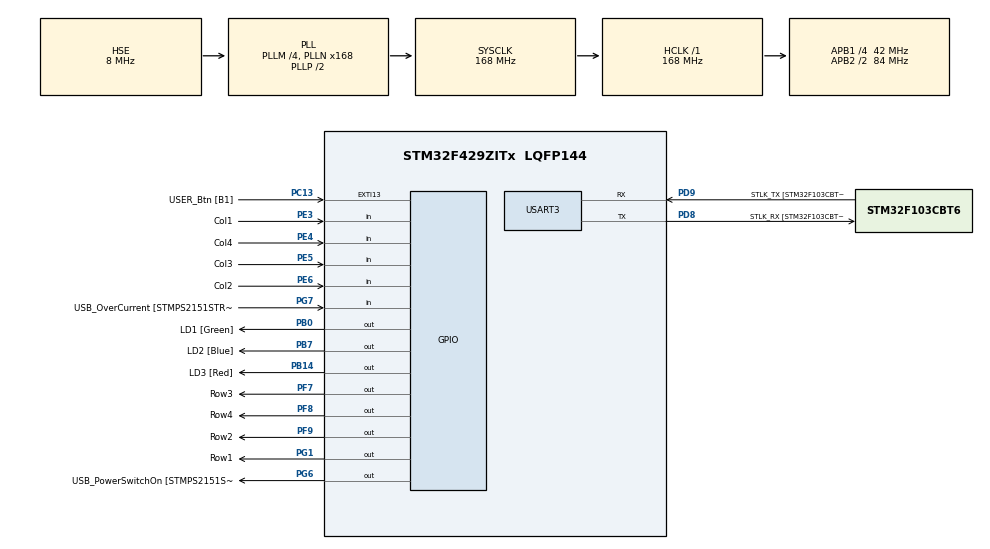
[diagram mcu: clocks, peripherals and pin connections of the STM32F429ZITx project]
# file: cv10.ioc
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Mcu.Family=STM32F4
Mcu.Name=STM32F429ZITx
Mcu.Package=LQFP144
NVIC.PriorityGroup=NVIC_PRIORITYGROUP_4
NVIC.TIM3_IRQn=true\:15\:0\:false\:false\:true\:true\:true\:true
PA1.GPIO_Label=RMII_REF_CLK [LAN8742A-CZ-TR_REFCLK0]
PA1.Signal=ETH_REF_CLK
PA10.GPIO_Label=USB_ID
PA10.Signal=USB_OTG_FS_ID
PA11.GPIO_Label=USB_DM
PA11.Signal=USB_OTG_FS_DM
PA12.GPIO_Label=USB_DP
PA12.Signal=USB_OTG_FS_DP
PA13.GPIO_Label=TMS
PA13.Mode=Serial_Wire
PA13.Signal=SYS_JTMS-SWDIO
PA14.GPIO_Label=TCK
PA14.Mode=Serial_Wire
PA14.Signal=SYS_JTCK-SWCLK
PA2.GPIO_Label=RMII_MDIO [LAN8742A-CZ-TR_MDIO]
PA2.Signal=ETH_MDIO
PA7.GPIO_Label=RMII_CRS_DV [LAN8742A-CZ-TR_CRS_DV]
PA7.Signal=ETH_CRS_DV
PA8.GPIO_Label=USB_SOF [TP1]
PA8.Signal=USB_OTG_FS_SOF
PA9.GPIO_Label=USB_VBUS
PA9.Signal=USB_OTG_FS_VBUS
PB0.GPIO_Label=LD1 [Green]
PB0.Signal=GPIO_Output
PB13.GPIO_Label=RMII_TXD1 [LAN8742A-CZ-TR_TXD1]
PB13.Signal=ETH_TXD1
PB14.GPIO_Label=LD3 [Red]
PB14.Signal=GPIO_Output
PB7.GPIO_Label=LD2 [Blue]
PB7.Signal=GPIO_Output
PC1.GPIO_Label=RMII_MDC [LAN8742A-CZ-TR_MDC]
PC1.Signal=ETH_MDC
PC13.GPIO_Label=USER_Btn [B1]
PC13.Signal=GPXTI13
PC14/OSC32_IN.Mode=LSE-External-Oscillator
PC14/OSC32_IN.Signal=RCC_OSC32_IN
PC15/OSC32_OUT.Mode=LSE-External-Oscillator
PC15/OSC32_OUT.Signal=RCC_OSC32_OUT
PC4.GPIO_Label=RMII_RXD0 [LAN8742A-CZ-TR_RXD0]
PC4.Signal=ETH_RXD0
PC5.GPIO_Label=RMII_RXD1 [LAN8742A-CZ-TR_RXD1]
PC5.Signal=ETH_RXD1
PD8.GPIO_Label=STLK_RX [STM32F103CBT6_PA3]
PD8.Mode=Asynchronous
PD8.Signal=USART3_TX
PD9.GPIO_Label=STLK_TX [STM32F103CBT6_PA2]
PD9.Mode=Asynchronous
PD9.Signal=USART3_RX
PE3.GPIO_Label=Col1
PE3.GPIO_PuPd=GPIO_PULLUP
PE3.Signal=GPIO_Input
PE4.GPIO_Label=Col4
PE4.GPIO_PuPd=GPIO_PULLUP
PE4.Signal=GPIO_Input
PE5.GPIO_Label=Col3
PE5.GPIO_PuPd=GPIO_PULLUP
PE5.Signal=GPIO_Input
PE6.GPIO_Label=Col2
PE6.GPIO_PuPd=GPIO_PULLUP
PE6.Signal=GPIO_Input
PF7.GPIO_Label=Row3
PF7.GPIO_ModeDefaultOutputPP=GPIO_MODE_OUTPUT_OD
PF7.GPIO_PuPd=GPIO_NOPULL
PF7.Signal=GPIO_Output
PF8.GPIO_Label=Row4
PF8.GPIO_ModeDefaultOutputPP=GPIO_MODE_OUTPUT_OD
PF8.GPIO_PuPd=GPIO_NOPULL
PF8.Signal=GPIO_Output
PF9.GPIO_Label=Row2
PF9.GPIO_ModeDefaultOutputPP=GPIO_MODE_OUTPUT_OD
PF9.GPIO_PuPd=GPIO_NOPULL
PF9.Signal=GPIO_Output
PG1.GPIO_Label=Row1
PG1.GPIO_ModeDefaultOutputPP=GPIO_MODE_OUTPUT_OD
PG1.GPIO_PuPd=GPIO_NOPULL
PG1.Signal=GPIO_Output
PG11.GPIO_Label=RMII_TX_EN [LAN8742A-CZ-TR_TXEN]
PG11.Signal=ETH_TX_EN
PG13.GPIO_Label=RMII_TXD0 [LAN8742A-CZ-TR_TXD0]
PG13.Signal=ETH_TXD0
PG6.GPIO_Label=USB_PowerSwitchOn [STMPS2151STR_EN]
PG6.Signal=GPIO_Output
PG7.GPIO_Label=USB_OverCurrent [STMPS2151STR_FAULT]
PG7.Signal=GPIO_Input
PH0/OSC_IN.GPIO_Label=MCO [STM32F103CBT6_PA8]
PH0/OSC_IN.Mode=HSE-External-Clock-Source
PH0/OSC_IN.Signal=RCC_OSC_IN
PH1/OSC_OUT.Mode=HSE-External-Clock-Source
PH1/OSC_OUT.Signal=RCC_OSC_OUT
ProjectManager.HeapSize=0x200
ProjectManager.StackSize=0x400
ProjectManager.TargetToolchain=STM32CubeIDE
RCC.48MHZClocksFreq_Value=48000000
RCC.AHBFreq_Value=168000000
RCC.APB1CLKDivider=RCC_HCLK_DIV4
RCC.APB1Freq_Value=42000000
RCC.APB1TimFreq_Value=84000000
RCC.APB2CLKDivider=RCC_HCLK_DIV2
RCC.APB2Freq_Value=84000000
RCC.APB2TimCLKDivider=2
RCC.APB2TimFreq_Value=168000000
RCC.CortexFreq_Value=168000000
RCC.HCLKFreq_Value=168000000
RCC.HSE_VALUE=8000000
RCC.HSI_VALUE=16000000
RCC.PLLM=4
RCC.PLLMUL=RCC_PLL_MUL9
RCC.PLLN=168
RCC.PLLQ=7
RCC.PLLSourceVirtual=RCC_PLLSOURCE_HSE
RCC.PRESCALERUSB=RCC_USBCLKSOURCE_PLL_DIV1_5
RCC.SYSCLKFreq_VALUE=168000000
RCC.SYSCLKSource=RCC_SYSCLKSOURCE_PLLCLK
RCC.SYSCLKSourceVirtual=RCC_SYSCLKSOURCE_PLLCLK
RCC.USBFreq_Value=48000000
RCC.VCOOutputFreq_Value=336000000
TIM3.AutoReloadPreload=TIM_AUTORELOAD_PRELOAD_ENABLE
TIM3.Period=99
TIM3.Prescaler=8399
USART3.VirtualMode=VM_ASYNC
VP_TIM3_VS_ClockSourceINT.Mode=Internal
board=NUCLEO-F429ZI

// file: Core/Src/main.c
/* USER CODE BEGIN Header */
/**
  ******************************************************************************
  * @file           : main.c
  * @brief          : Main program body
  ******************************************************************************
  * @attention
  *
  * Copyright (c) 2024 STMicroelectronics.
  * All rights reserved.
  *
  * This software is licensed under terms that can be found in the LICENSE file
  * in the root directory of this software component.
  * If no LICENSE file comes with this software, it is provided AS-IS.
  *
  ******************************************************************************
  */
/* USER CODE END Header */
#include "main.h"

/* USER CODE BEGIN Includes */

#include <stdio.h>

/* USER CODE END Includes */

/* USER CODE BEGIN PD */

#define PASSKEY_LENGTH 4

/* USER CODE END PD */

TIM_HandleTypeDef htim3;

UART_HandleTypeDef huart3;

/* USER CODE BEGIN PV */

static volatile char key;
static volatile char passkey[] = { '7', '9', '3', '2', '#' };
static volatile uint8_t current_key_position = 0;

/* USER CODE END PV */

void SystemClock_Config(void);
static void MX_GPIO_Init(void);
static void MX_USART3_UART_Init(void);
static void MX_TIM3_Init(void);

/* USER CODE BEGIN 0 */

int __io_putchar(int ch) {
	ITM_SendChar(ch);
	return 0;
}

/* USER CODE END 0 */

int main(void)
{

  /* MCU Configuration--------------------------------------------------------*/

  /* Reset of all peripherals, Initializes the Flash interface and the Systick. */
  HAL_Init();

  /* Configure the system clock */
  SystemClock_Config();

  /* Initialize all configured peripherals */
  MX_GPIO_Init();
  MX_USART3_UART_Init();
  MX_TIM3_Init();
  /* USER CODE BEGIN 2 */

  HAL_TIM_Base_Start_IT(&htim3);
  printf("Start\n");

  /* USER CODE END 2 */

  /* Infinite loop */
  /* USER CODE BEGIN WHILE */
  while (1)
  {
	  static uint32_t current_tick = 0;

		if (key != 0) {
			printf("pressed '%c'\n", key);

			if (HAL_GetTick() > current_tick + 3000) {
				current_key_position = 0;
				printf("tick_reset\n");
			}

			if (key == passkey[current_key_position]) {
				current_key_position++;
				if(current_key_position == PASSKEY_LENGTH + 1) {
					printf("CORRECT COMBINATION ENTERED\n");

					for(uint8_t i = 0; i < 4; i++)
					{
						HAL_GPIO_TogglePin(LD1_GPIO_Port, LD1_Pin);
						HAL_Delay(50);
					}
					current_key_position = 0;
				}
				current_tick = HAL_GetTick();
			}
			else {
				current_key_position = 0;
			}

			printf("position: %d\n", current_key_position);

			HAL_Delay(500);
			key = 0;
		}
    /* USER CODE END WHILE */

  }
}

void SystemClock_Config(void)
{
  RCC_OscInitTypeDef RCC_OscInitStruct = {0};
  RCC_ClkInitTypeDef RCC_ClkInitStruct = {0};

  /** Configure the main internal regulator output voltage
  */
  __HAL_RCC_PWR_CLK_ENABLE();
  __HAL_PWR_VOLTAGESCALING_CONFIG(PWR_REGULATOR_VOLTAGE_SCALE1);

  /** Initializes the RCC Oscillators according to the specified parameters
  * in the RCC_OscInitTypeDef structure.
  */
  RCC_OscInitStruct.OscillatorType = RCC_OSCILLATORTYPE_HSE;
  RCC_OscInitStruct.HSEState = RCC_HSE_BYPASS;
  RCC_OscInitStruct.PLL.PLLState = RCC_PLL_ON;
  RCC_OscInitStruct.PLL.PLLSource = RCC_PLLSOURCE_HSE;
  RCC_OscInitStruct.PLL.PLLM = 4;
  RCC_OscInitStruct.PLL.PLLN = 168;
  RCC_OscInitStruct.PLL.PLLP = RCC_PLLP_DIV2;
  RCC_OscInitStruct.PLL.PLLQ = 7;
  if (HAL_RCC_OscConfig(&RCC_OscInitStruct) != HAL_OK)
  {
    Error_Handler();
  }

  /** Initializes the CPU, AHB and APB buses clocks
  */
  RCC_ClkInitStruct.ClockType = RCC_CLOCKTYPE_HCLK|RCC_CLOCKTYPE_SYSCLK
                              |RCC_CLOCKTYPE_PCLK1|RCC_CLOCKTYPE_PCLK2;
  RCC_ClkInitStruct.SYSCLKSource = RCC_SYSCLKSOURCE_PLLCLK;
  RCC_ClkInitStruct.AHBCLKDivider = RCC_SYSCLK_DIV1;
  RCC_ClkInitStruct.APB1CLKDivider = RCC_HCLK_DIV4;
  RCC_ClkInitStruct.APB2CLKDivider = RCC_HCLK_DIV2;

  if (HAL_RCC_ClockConfig(&RCC_ClkInitStruct, FLASH_LATENCY_5) != HAL_OK)
  {
    Error_Handler();
  }
}

static void MX_TIM3_Init(void)
{

  TIM_ClockConfigTypeDef sClockSourceConfig = {0};
  TIM_MasterConfigTypeDef sMasterConfig = {0};

  htim3.Instance = TIM3;
  htim3.Init.Prescaler = 8399;
  htim3.Init.CounterMode = TIM_COUNTERMODE_UP;
  htim3.Init.Period = 99;
  htim3.Init.ClockDivision = TIM_CLOCKDIVISION_DIV1;
  htim3.Init.AutoReloadPreload = TIM_AUTORELOAD_PRELOAD_ENABLE;
  if (HAL_TIM_Base_Init(&htim3) != HAL_OK)
  {
    Error_Handler();
  }
  sClockSourceConfig.ClockSource = TIM_CLOCKSOURCE_INTERNAL;
  if (HAL_TIM_ConfigClockSource(&htim3, &sClockSourceConfig) != HAL_OK)
  {
    Error_Handler();
  }
  sMasterConfig.MasterOutputTrigger = TIM_TRGO_RESET;
  sMasterConfig.MasterSlaveMode = TIM_MASTERSLAVEMODE_DISABLE;
  if (HAL_TIMEx_MasterConfigSynchronization(&htim3, &sMasterConfig) != HAL_OK)
  {
    Error_Handler();
  }

}

static void MX_USART3_UART_Init(void)
{

  huart3.Instance = USART3;
  huart3.Init.BaudRate = 115200;
  huart3.Init.WordLength = UART_WORDLENGTH_8B;
  huart3.Init.StopBits = UART_STOPBITS_1;
  huart3.Init.Parity = UART_PARITY_NONE;
  huart3.Init.Mode = UART_MODE_TX_RX;
  huart3.Init.HwFlowCtl = UART_HWCONTROL_NONE;
  huart3.Init.OverSampling = UART_OVERSAMPLING_16;
  if (HAL_UART_Init(&huart3) != HAL_OK)
  {
    Error_Handler();
  }

}

static void MX_GPIO_Init(void)
{
  GPIO_InitTypeDef GPIO_InitStruct = {0};

  /* GPIO Ports Clock Enable */
  __HAL_RCC_GPIOE_CLK_ENABLE();
  __HAL_RCC_GPIOC_CLK_ENABLE();
  __HAL_RCC_GPIOF_CLK_ENABLE();
  __HAL_RCC_GPIOH_CLK_ENABLE();
  __HAL_RCC_GPIOA_CLK_ENABLE();
  __HAL_RCC_GPIOB_CLK_ENABLE();
  __HAL_RCC_GPIOG_CLK_ENABLE();
  __HAL_RCC_GPIOD_CLK_ENABLE();

  /*Configure GPIO pin Output Level */
  HAL_GPIO_WritePin(GPIOF, Row3_Pin|Row4_Pin|Row2_Pin, GPIO_PIN_RESET);

  /*Configure GPIO pin Output Level */
  HAL_GPIO_WritePin(GPIOB, LD1_Pin|LD3_Pin|LD2_Pin, GPIO_PIN_RESET);

  /*Configure GPIO pin Output Level */
  HAL_GPIO_WritePin(GPIOG, Row1_Pin|USB_PowerSwitchOn_Pin, GPIO_PIN_RESET);

  /*Configure GPIO pins : Col1_Pin Col4_Pin Col3_Pin Col2_Pin */
  GPIO_InitStruct.Pin = Col1_Pin|Col4_Pin|Col3_Pin|Col2_Pin;
  GPIO_InitStruct.Mode = GPIO_MODE_INPUT;
  GPIO_InitStruct.Pull = GPIO_PULLUP;
  HAL_GPIO_Init(GPIOE, &GPIO_InitStruct);

  /*Configure GPIO pin : USER_Btn_Pin */
  GPIO_InitStruct.Pin = USER_Btn_Pin;
  GPIO_InitStruct.Mode = GPIO_MODE_IT_RISING;
  GPIO_InitStruct.Pull = GPIO_NOPULL;
  HAL_GPIO_Init(USER_Btn_GPIO_Port, &GPIO_InitStruct);

  /*Configure GPIO pins : Row3_Pin Row4_Pin Row2_Pin */
  GPIO_InitStruct.Pin = Row3_Pin|Row4_Pin|Row2_Pin;
  GPIO_InitStruct.Mode = GPIO_MODE_OUTPUT_OD;
  GPIO_InitStruct.Pull = GPIO_NOPULL;
  GPIO_InitStruct.Speed = GPIO_SPEED_FREQ_LOW;
  HAL_GPIO_Init(GPIOF, &GPIO_InitStruct);

  /*Configure GPIO pins : RMII_MDC_Pin RMII_RXD0_Pin RMII_RXD1_Pin */
  GPIO_InitStruct.Pin = RMII_MDC_Pin|RMII_RXD0_Pin|RMII_RXD1_Pin;
  GPIO_InitStruct.Mode = GPIO_MODE_AF_PP;
  GPIO_InitStruct.Pull = GPIO_NOPULL;
  GPIO_InitStruct.Speed = GPIO_SPEED_FREQ_VERY_HIGH;
  GPIO_InitStruct.Alternate = GPIO_AF11_ETH;
  HAL_GPIO_Init(GPIOC, &GPIO_InitStruct);

  /*Configure GPIO pins : RMII_REF_CLK_Pin RMII_MDIO_Pin RMII_CRS_DV_Pin */
  GPIO_InitStruct.Pin = RMII_REF_CLK_Pin|RMII_MDIO_Pin|RMII_CRS_DV_Pin;
  GPIO_InitStruct.Mode = GPIO_MODE_AF_PP;
  GPIO_InitStruct.Pull = GPIO_NOPULL;
  GPIO_InitStruct.Speed = GPIO_SPEED_FREQ_VERY_HIGH;
  GPIO_InitStruct.Alternate = GPIO_AF11_ETH;
  HAL_GPIO_Init(GPIOA, &GPIO_InitStruct);

  /*Configure GPIO pins : LD1_Pin LD3_Pin LD2_Pin */
  GPIO_InitStruct.Pin = LD1_Pin|LD3_Pin|LD2_Pin;
  GPIO_InitStruct.Mode = GPIO_MODE_OUTPUT_PP;
  GPIO_InitStruct.Pull = GPIO_NOPULL;
  GPIO_InitStruct.Speed = GPIO_SPEED_FREQ_LOW;
  HAL_GPIO_Init(GPIOB, &GPIO_InitStruct);

  /*Configure GPIO pin : Row1_Pin */
  GPIO_InitStruct.Pin = Row1_Pin;
  GPIO_InitStruct.Mode = GPIO_MODE_OUTPUT_OD;
  GPIO_InitStruct.Pull = GPIO_NOPULL;
  GPIO_InitStruct.Speed = GPIO_SPEED_FREQ_LOW;
  HAL_GPIO_Init(Row1_GPIO_Port, &GPIO_InitStruct);

  /*Configure GPIO pin : RMII_TXD1_Pin */
  GPIO_InitStruct.Pin = RMII_TXD1_Pin;
  GPIO_InitStruct.Mode = GPIO_MODE_AF_PP;
  GPIO_InitStruct.Pull = GPIO_NOPULL;
  GPIO_InitStruct.Speed = GPIO_SPEED_FREQ_VERY_HIGH;
  GPIO_InitStruct.Alternate = GPIO_AF11_ETH;
  HAL_GPIO_Init(RMII_TXD1_GPIO_Port, &GPIO_InitStruct);

  /*Configure GPIO pin : USB_PowerSwitchOn_Pin */
  GPIO_InitStruct.Pin = USB_PowerSwitchOn_Pin;
  GPIO_InitStruct.Mode = GPIO_MODE_OUTPUT_PP;
  GPIO_InitStruct.Pull = GPIO_NOPULL;
  GPIO_InitStruct.Speed = GPIO_SPEED_FREQ_LOW;
  HAL_GPIO_Init(USB_PowerSwitchOn_GPIO_Port, &GPIO_InitStruct);

  /*Configure GPIO pin : USB_OverCurrent_Pin */
  GPIO_InitStruct.Pin = USB_OverCurrent_Pin;
  GPIO_InitStruct.Mode = GPIO_MODE_INPUT;
  GPIO_InitStruct.Pull = GPIO_NOPULL;
  HAL_GPIO_Init(USB_OverCurrent_GPIO_Port, &GPIO_InitStruct);

  /*Configure GPIO pins : USB_SOF_Pin USB_ID_Pin USB_DM_Pin USB_DP_Pin */
  GPIO_InitStruct.Pin = USB_SOF_Pin|USB_ID_Pin|USB_DM_Pin|USB_DP_Pin;
  GPIO_InitStruct.Mode = GPIO_MODE_AF_PP;
  GPIO_InitStruct.Pull = GPIO_NOPULL;
  GPIO_InitStruct.Speed = GPIO_SPEED_FREQ_VERY_HIGH;
  GPIO_InitStruct.Alternate = GPIO_AF10_OTG_FS;
  HAL_GPIO_Init(GPIOA, &GPIO_InitStruct);

  /*Configure GPIO pin : USB_VBUS_Pin */
  GPIO_InitStruct.Pin = USB_VBUS_Pin;
  GPIO_InitStruct.Mode = GPIO_MODE_INPUT;
  GPIO_InitStruct.Pull = GPIO_NOPULL;
  HAL_GPIO_Init(USB_VBUS_GPIO_Port, &GPIO_InitStruct);

  /*Configure GPIO pins : RMII_TX_EN_Pin RMII_TXD0_Pin */
  GPIO_InitStruct.Pin = RMII_TX_EN_Pin|RMII_TXD0_Pin;
  GPIO_InitStruct.Mode = GPIO_MODE_AF_PP;
  GPIO_InitStruct.Pull = GPIO_NOPULL;
  GPIO_InitStruct.Speed = GPIO_SPEED_FREQ_VERY_HIGH;
  GPIO_InitStruct.Alternate = GPIO_AF11_ETH;
  HAL_GPIO_Init(GPIOG, &GPIO_InitStruct);

}

/* USER CODE BEGIN 4 */

void HAL_TIM_PeriodElapsedCallback(TIM_HandleTypeDef *htim) {
	static uint8_t row = 0;
	static const char keyboard[4][4] = {
			{ '1', '2', '3', 'A' },
			{ '4', '5',	'6', 'B' },
			{ '7', '8', '9', 'C' },
			{ '*', '0', '#', 'D' },
	};
	if (HAL_GPIO_ReadPin(Col1_GPIO_Port, Col1_Pin) == GPIO_PIN_RESET) {
		key = keyboard[row][0];
	}
	if (HAL_GPIO_ReadPin(Col2_GPIO_Port, Col2_Pin) == GPIO_PIN_RESET) {
		key = keyboard[row][1];
	}
	if (HAL_GPIO_ReadPin(Col3_GPIO_Port, Col3_Pin) == GPIO_PIN_RESET) {
		key = keyboard[row][2];
	}
	if (HAL_GPIO_ReadPin(Col4_GPIO_Port, Col4_Pin) == GPIO_PIN_RESET) {
		key = keyboard[row][3];
	}
	HAL_GPIO_WritePin(Row1_GPIO_Port, Row1_Pin, GPIO_PIN_SET);
	HAL_GPIO_WritePin(Row2_GPIO_Port, Row2_Pin, GPIO_PIN_SET);
	HAL_GPIO_WritePin(Row3_GPIO_Port, Row3_Pin, GPIO_PIN_SET);
	HAL_GPIO_WritePin(Row4_GPIO_Port, Row4_Pin, GPIO_PIN_SET);
	switch (row) {
	case 0:
		row = 1;
		HAL_GPIO_WritePin(Row2_GPIO_Port, Row2_Pin, GPIO_PIN_RESET);
		break;
	case 1:
		row = 2;
		HAL_GPIO_WritePin(Row3_GPIO_Port, Row3_Pin, GPIO_PIN_RESET);
		break;
	case 2:
		row = 3;
		HAL_GPIO_WritePin(Row4_GPIO_Port, Row4_Pin, GPIO_PIN_RESET);
		break;
	case 3:
		row = 0;
		HAL_GPIO_WritePin(Row1_GPIO_Port, Row1_Pin, GPIO_PIN_RESET);
		break;
	}
}

/* USER CODE END 4 */

void Error_Handler(void)
{
  __disable_irq();
  while (1)
  {
  }
}
